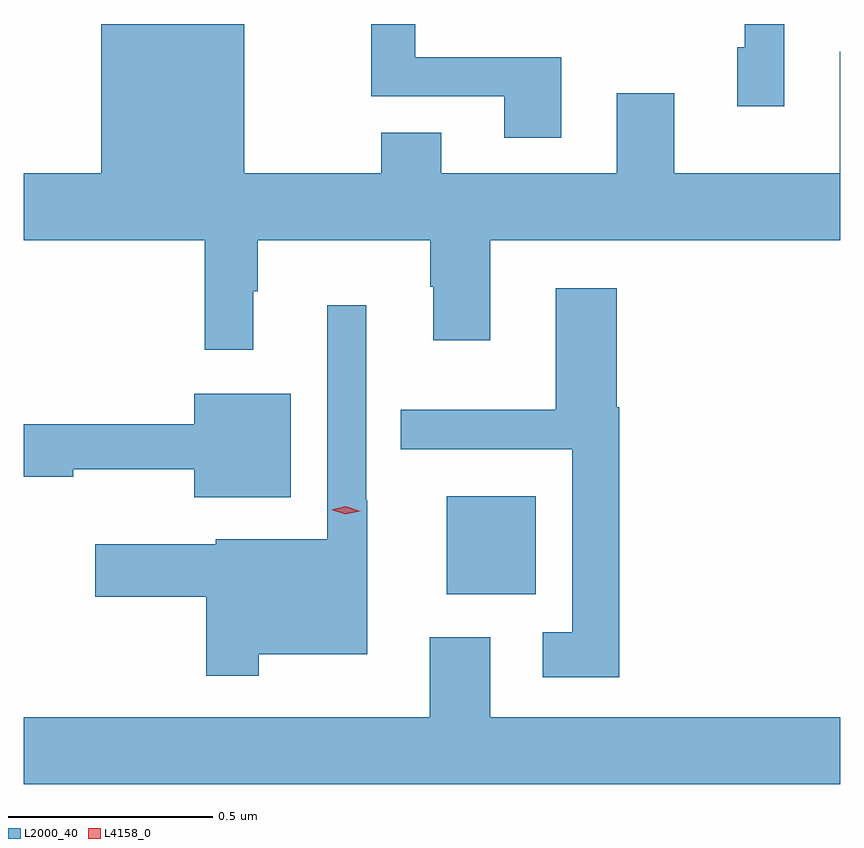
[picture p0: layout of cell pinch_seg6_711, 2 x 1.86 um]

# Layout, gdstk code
import gdstk
lib = gdstk.Library(unit=1e-6, precision=1e-09)
def R(c, l, rs):  # rectangles x0, y0, x1, y1
    for r in rs: c.add(gdstk.rectangle(r[:2], r[2:], *l))
def P(c, l, *ps):  # polygons
    for p in ps: c.add(gdstk.Polygon(p, *l))
L2000_40 = (2000, 40)
L4158_0 = (4158, 0)

pinch_seg6_711 = lib.new_cell('pinch_seg6_711')
R(pinch_seg6_711, L2000_40, [(460.346,951.797,460.564,952.036)])
P(pinch_seg6_711, L2000_40, [(459.872,952.538),(459.883,952.538),(459.883,952.664),(460.306,952.664),(460.306,952.55),(460.313,952.55),(460.313,952.419),(460.453,952.419),(460.453,952.664),(461.31,952.664),(461.31,953.125),(461.309,953.125),(461.309,952.828),(460.903,952.828),(460.903,953.023),(460.763,953.023),(460.763,952.828),(460.333,952.828),(460.333,952.927),(460.186,952.927),(460.186,952.828),(459.85,952.828),(459.85,953.193),(459.5,953.193),(459.5,952.828),(459.31,952.828),(459.31,952.664),(459.754,952.664),(459.754,952.395),(459.872,952.395)],
  [(460.627,953.112),(460.269,953.112),(460.269,953.193),(460.161,953.193),(460.161,953.016),(460.487,953.016),(460.487,952.914),(460.627,952.914)],
  [(461.172,953.193),(461.076,953.193),(461.076,953.136),(461.057,953.136),(461.057,952.992),(461.172,952.992)],
  [(460.769,952.255),(460.763,952.255),(460.763,952.546),(460.613,952.546),(460.613,952.249),(460.234,952.249),(460.234,952.152),(460.653,952.152),(460.653,951.703),(460.581,951.703),(460.581,951.594),(460.769,951.594)],
  [(459.886,951.65),(460.151,951.65),(460.151,952.027),(460.149,952.027),(460.149,952.504),(460.053,952.504),(460.053,951.931),(459.78,951.931),(459.78,951.919),(459.486,951.919),(459.486,951.79),(459.757,951.79),(459.757,951.597),(459.886,951.597)],
  [(459.964,952.288),(459.728,952.288),(459.728,952.213),(459.31,952.213),(459.31,952.084),(459.432,952.084),(459.432,952.103),(459.728,952.103),(459.728,952.034),(459.964,952.034)],
  [(461.31,951.496),(460.453,951.496),(460.453,951.691),(460.304,951.691),(460.304,951.496),(459.31,951.496),(459.31,951.332),(461.31,951.332)])
P(pinch_seg6_711, L4158_0, [(460.098,951.992),(460.063,952.003),(460.063,952.003),(460.063,952.003),(460.099,952.012),(460.134,952),(460.134,952),(460.134,952)])

lib.write_gds('pinch_seg6_711.gds')
